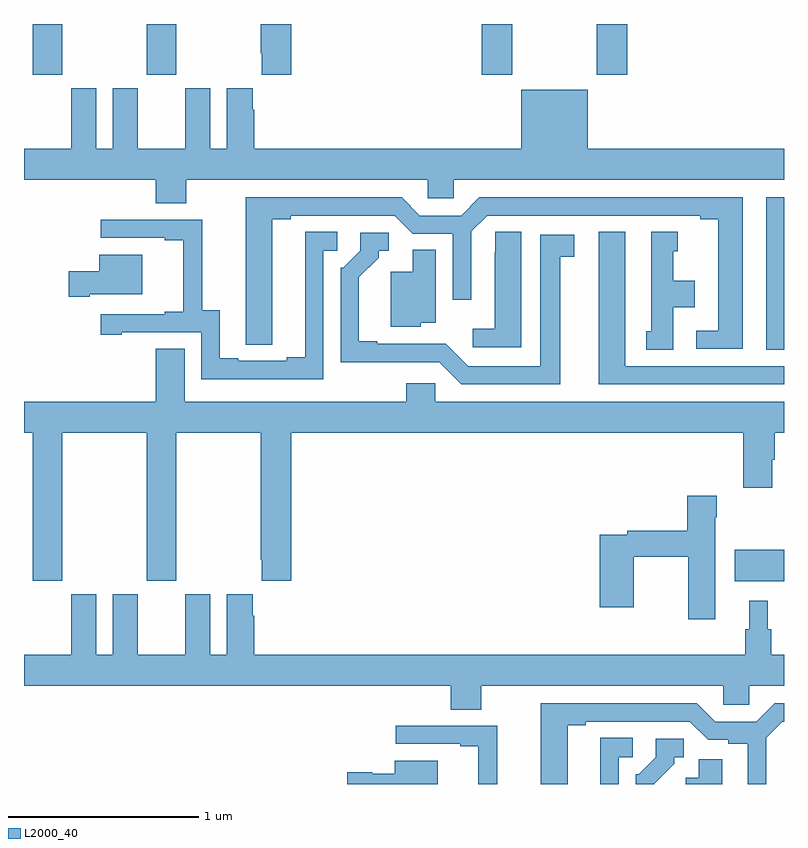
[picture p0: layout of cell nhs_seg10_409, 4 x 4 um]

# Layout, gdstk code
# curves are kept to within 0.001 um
import gdstk
lib = gdstk.Library(unit=1e-6, precision=1e-09)
def R(c, l, rs):  # rectangles x0, y0, x1, y1
    for r in rs: c.add(gdstk.rectangle(r[:2], r[2:], *l))
def P(c, l, *ps):  # polygons
    for p in ps: c.add(gdstk.Polygon(p, *l))
L2000_40 = (2000, 40)

nhs_seg10_409 = lib.new_cell('nhs_seg10_409')
R(nhs_seg10_409, L2000_40, [(134.742,1267.568,135,1267.734), (134.906,1268.785,135,1269.588), (131.047,1270.233,131.202,1270.5), (131.647,1270.233,131.802,1270.5), (133.409,1270.233,133.569,1270.5), (134.014,1270.233,134.174,1270.5)])
P(nhs_seg10_409, L2000_40, [(132.407,1270.5),(132.247,1270.5),(132.247,1270.345),(132.251,1270.345),(132.251,1270.233),(132.407,1270.233)],
  [(131.853,1269.68),(133.125,1269.68),(133.125,1269.582),(133.263,1269.582),(133.263,1269.68),(135,1269.68),(135,1269.844),(133.966,1269.844),(133.966,1270.153),(133.616,1270.153),(133.616,1269.844),(132.212,1269.844),(132.212,1270.049),(132.205,1270.049),(132.205,1270.162),(132.068,1270.162),(132.068,1269.844),(131.98,1269.844),(131.98,1270.162),(131.849,1270.162),(131.849,1269.844),(131.599,1269.844),(131.599,1270.162),(131.468,1270.162),(131.468,1269.844),(131.38,1269.844),(131.38,1270.162),(131.249,1270.162),(131.249,1269.844),(131,1269.844),(131,1269.68),(131.693,1269.68),(131.693,1269.556),(131.853,1269.556)],
  [(134.782,1269.588),(133.397,1269.588),(133.301,1269.492),(133.083,1269.492),(132.987,1269.588),(132.167,1269.588),(132.168,1268.812),(132.307,1268.812),(132.307,1269.472),(132.403,1269.472),(132.403,1269.492),(132.951,1269.492),(133.047,1269.396),(133.257,1269.396),(133.257,1269.048),(133.353,1269.048),(133.353,1269.408),(133.437,1269.492),(134.558,1269.492),(134.558,1269.472),(134.654,1269.472),(134.654,1268.886),(134.538,1268.886),(134.538,1268.79),(134.782,1268.79)],
  [(132.576,1269.306),(132.649,1269.306),(132.649,1269.407),(132.479,1269.407),(132.479,1268.747),(132.383,1268.747),(132.383,1268.727),(132.127,1268.727),(132.127,1268.742),(132.031,1268.742),(132.031,1268.993),(131.937,1268.993),(131.937,1269.471),(131.403,1269.471),(131.403,1269.375),(131.741,1269.375),(131.741,1269.363),(131.837,1269.363),(131.837,1268.986),(131.741,1268.986),(131.741,1268.973),(131.403,1268.973),(131.403,1268.865),(131.515,1268.865),(131.515,1268.877),(131.934,1268.877),(131.934,1268.631),(132.576,1268.631)],
  [(133.618,1269.407),(133.479,1269.407),(133.479,1269.299),(133.478,1269.299),(133.478,1268.896),(133.362,1268.896),(133.362,1268.799),(133.618,1268.799)],
  [(134.416,1269.008),(134.53,1269.008),(134.53,1269.148),(134.416,1269.148),(134.416,1269.303),(134.44,1269.303),(134.44,1269.406),(134.3,1269.406),(134.3,1268.883),(134.276,1268.883),(134.276,1268.785),(134.416,1268.785)],
  [(135,1268.7),(134.164,1268.7),(134.164,1269.406),(134.024,1269.406),(134.024,1268.604),(135,1268.604)],
  [(133.822,1269.274),(133.897,1269.274),(133.897,1269.39),(133.718,1269.39),(133.718,1268.7),(133.338,1268.7),(133.221,1268.817),(132.859,1268.817),(132.859,1268.83),(132.763,1268.83),(132.763,1269.166),(132.868,1269.271),(132.868,1269.306),(132.919,1269.306),(132.919,1269.402),(132.771,1269.402),(132.771,1269.306),(132.681,1269.216),(132.666,1269.216),(132.666,1268.72),(133.185,1268.721),(133.302,1268.604),(133.822,1268.604)],
  [(133.089,1268.927),(133.168,1268.927),(133.168,1269.311),(133.046,1269.311),(133.046,1269.196),(132.929,1269.196),(132.929,1268.906),(133.089,1268.906)],
  [(131.347,1269.077),(131.623,1269.077),(131.623,1269.286),(131.396,1269.286),(131.396,1269.199),(131.235,1269.199),(131.235,1269.065),(131.347,1269.065)],
  [(131.202,1268.348),(131.647,1268.348),(131.647,1267.569),(131.802,1267.569),(131.802,1268.348),(132.247,1268.348),(132.247,1267.681),(132.251,1267.681),(132.251,1267.569),(132.407,1267.569),(132.407,1268.348),(134.786,1268.348),(134.786,1268.058),(134.938,1268.058),(134.938,1268.206),(134.951,1268.206),(134.951,1268.348),(135,1268.348),(135,1268.512),(133.164,1268.512),(133.164,1268.61),(133.013,1268.61),(133.013,1268.512),(131.845,1268.512),(131.845,1268.792),(131.693,1268.792),(131.693,1268.512),(131,1268.512),(131,1268.348),(131.047,1268.348),(131.047,1267.569),(131.202,1267.569)],
  [(134.638,1267.904),(134.646,1267.904),(134.646,1268.017),(134.492,1268.017),(134.492,1267.832),(134.176,1267.832),(134.176,1267.812),(134.03,1267.812),(134.03,1267.431),(134.208,1267.431),(134.208,1267.696),(134.497,1267.696),(134.497,1267.368),(134.638,1267.368)],
  [(133.407,1267.016),(134.679,1267.016),(134.679,1266.918),(134.817,1266.918),(134.817,1267.016),(135,1267.016),(135,1267.18),(134.933,1267.18),(134.933,1267.314),(134.914,1267.314),(134.914,1267.465),(134.816,1267.465),(134.816,1267.314),(134.797,1267.314),(134.797,1267.18),(132.212,1267.18),(132.212,1267.385),(132.205,1267.385),(132.205,1267.498),(132.068,1267.498),(132.068,1267.18),(131.98,1267.18),(131.98,1267.498),(131.849,1267.498),(131.849,1267.18),(131.599,1267.18),(131.599,1267.498),(131.468,1267.498),(131.468,1267.18),(131.38,1267.18),(131.38,1267.498),(131.249,1267.498),(131.249,1267.18),(131,1267.18),(131,1267.016),(133.247,1267.016),(133.247,1266.892),(133.407,1266.892)],
  [(133.861,1266.808),(133.957,1266.808),(133.957,1266.828),(134.505,1266.828),(134.601,1266.732),(134.706,1266.732),(134.706,1266.712),(134.81,1266.712),(134.81,1266.5),(134.907,1266.5),(134.907,1266.744),(134.991,1266.828),(135,1266.828),(135,1266.924),(134.951,1266.924),(134.855,1266.828),(134.637,1266.828),(134.541,1266.924),(133.721,1266.924),(133.721,1266.5),(133.861,1266.5)],
  [(133.491,1266.807),(132.957,1266.807),(132.957,1266.711),(133.295,1266.711),(133.295,1266.699),(133.391,1266.699),(133.391,1266.5),(133.491,1266.5)],
  [(134.13,1266.642),(134.203,1266.642),(134.203,1266.743),(134.033,1266.743),(134.033,1266.5),(134.13,1266.5)],
  [(134.317,1266.502),(134.422,1266.607),(134.422,1266.642),(134.472,1266.642),(134.472,1266.738),(134.325,1266.738),(134.325,1266.642),(134.235,1266.552),(134.22,1266.552),(134.22,1266.5),(134.317,1266.5)],
  [(134.674,1266.63),(134.552,1266.63),(134.552,1266.532),(134.483,1266.532),(134.483,1266.5),(134.674,1266.5)],
  [(133.177,1266.622),(132.95,1266.622),(132.95,1266.553),(132.834,1266.553),(132.834,1266.561),(132.702,1266.561),(132.702,1266.5),(133.177,1266.5)])

lib.write_gds('nhs_seg10_409.gds')
